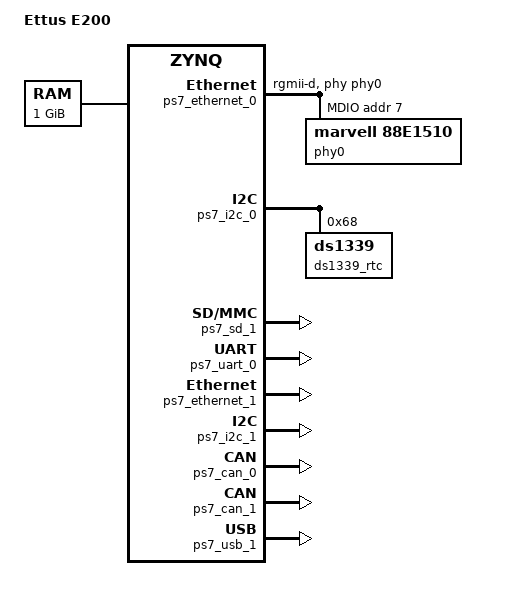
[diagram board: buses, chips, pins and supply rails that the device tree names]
/include/ "zynq-7-base.dtsi"
/ {
	model = "Ettus E200";
	chosen {
		bootargs = "console=ttyPS0,115200 earlyprintk";
		linux,stdout-path = "/amba@0/serial@e0001000";
	} ;
	/include/ "ps7_sclr-3.10.dtsi"
	ps7_ddr_0: memory@0 {
		device_type = "memory";
		reg = < 0x0 0x40000000 >;
	} ;
	ps7_axi_interconnect_0: amba@0 {
		ps7_ethernet_0: ps7-ethernet@e000b000 {
			phy-handle = <&phy0>;
			phy-mode = "rgmii-d";
			mdio {
				phy0: phy@7 {
					compatible = "marvell,88e1510";
					device_type = "ethernet-phy";
					reg = <7>;
				} ;
			} ;
		} ;
		ps7_sd_0: ps7-sdio@e0100000 {
			xlnx,wp-inverted;
		};
		ps7_i2c_0: ps7-i2c@e0004000 {

                        ds1339_rtc@68 {
                                compatible = "ds1339";
                                reg = <0x68>;
                        };
		};
		
		/* Disabled Devices */
		ps7_sd_1: ps7-sdio@e0101000 { compatible = "invalid"; };
		ps7_uart_0: serial@e0000000 { compatible = "invalid"; };
		ps7_ethernet_1: ps7-ethernet@e000c000 { compatible = "invalid"; };
		ps7_i2c_1: ps7-i2c@e0005000 { compatible = "invalid"; };
		ps7_can_0: ps7-can@e0008000 { compatible = "invalid"; };
		ps7_can_1: ps7-can@e0009000 { compatible = "invalid"; };
		ps7_usb_1: ps7-usb@e0003000 { compatible = "invalid"; };
	} ;
} ;
